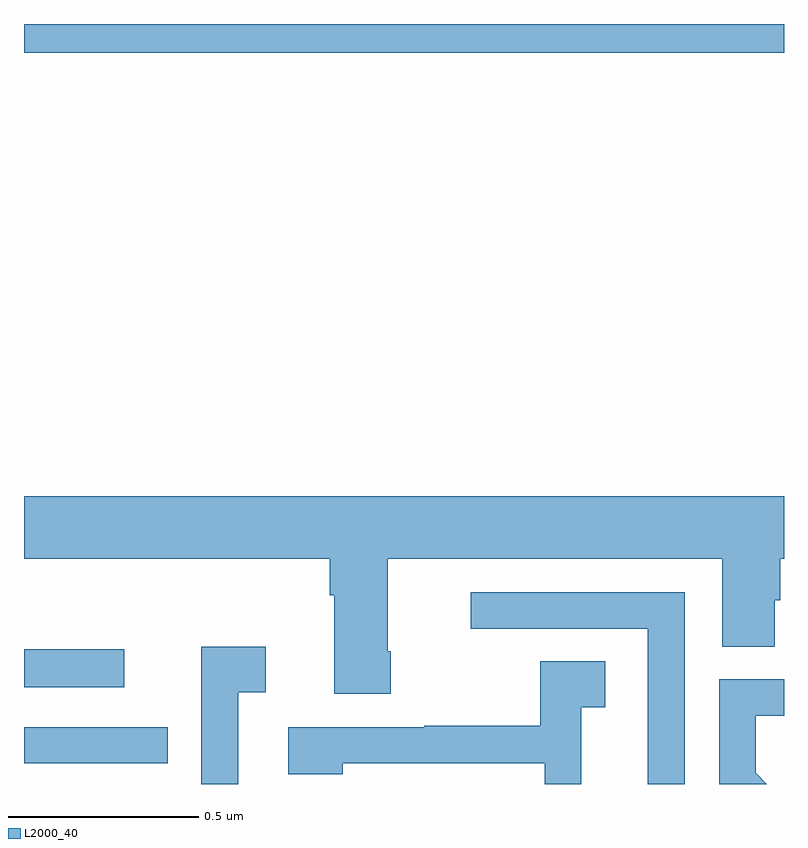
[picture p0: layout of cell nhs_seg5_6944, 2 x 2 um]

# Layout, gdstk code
import gdstk
lib = gdstk.Library(unit=1e-6, precision=1e-09)
def R(c, l, rs):  # rectangles x0, y0, x1, y1
    for r in rs: c.add(gdstk.rectangle(r[:2], r[2:], *l))
def P(c, l, *ps):  # polygons
    for p in ps: c.add(gdstk.Polygon(p, *l))
L2000_40 = (2000, 40)

nhs_seg5_6944 = lib.new_cell('nhs_seg5_6944')
R(nhs_seg5_6944, L2000_40, [(202,891.054,202.264,891.153), (202,892.724,204,892.799)])
P(nhs_seg5_6944, L2000_40, [(202.965,891.148),(202.957,891.148),(202.957,891.392),(203.837,891.392),(203.837,891.16),(203.975,891.16),(203.975,891.282),(203.99,891.282),(203.99,891.392),(204,891.392),(204,891.556),(202,891.556),(202,891.392),(202.805,891.392),(202.805,891.296),(202.817,891.296),(202.817,891.036),(202.965,891.036)],
  [(203.739,891.303),(203.175,891.303),(203.175,891.207),(203.642,891.207),(203.642,890.799),(203.739,890.799)],
  [(202.564,891.04),(202.636,891.04),(202.636,891.16),(202.467,891.16),(202.467,890.799),(202.564,890.799)],
  [(203.466,891.001),(203.53,891.001),(203.53,891.122),(203.358,891.122),(203.358,890.952),(203.053,890.952),(203.053,890.949),(202.695,890.949),(202.695,890.825),(202.839,890.825),(202.839,890.853),(203.37,890.853),(203.37,890.799),(203.466,890.799)],
  [(203.926,890.828),(203.926,890.978),(204,890.978),(204,891.075),(203.829,891.075),(203.829,890.799),(203.955,890.799)],
  [(202.265,890.854),(202.378,890.854),(202.378,890.949),(202,890.949),(202,890.853),(202.265,890.853)])

lib.write_gds('nhs_seg5_6944.gds')
